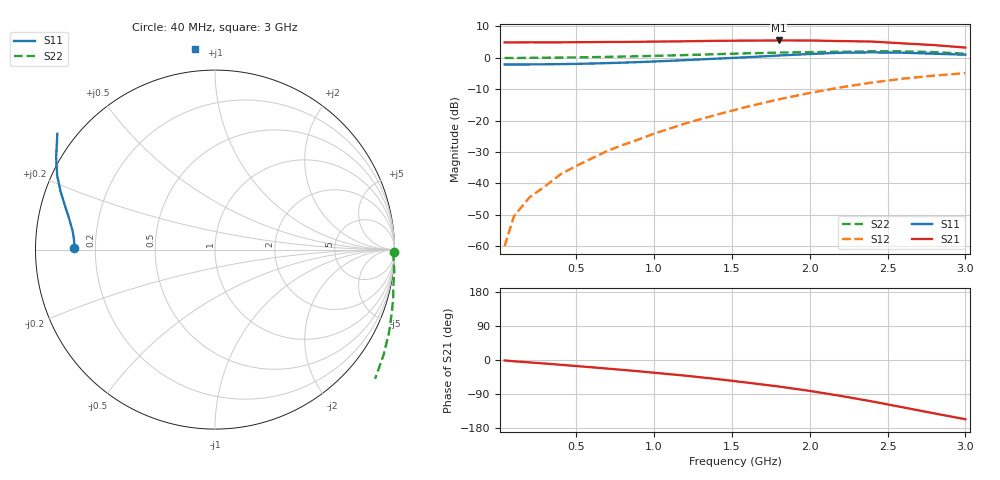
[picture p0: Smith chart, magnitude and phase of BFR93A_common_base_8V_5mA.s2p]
! Filename:  BFR93ACE.S2P  Version:  2.0
! Philips part #: BFR93A  Date: Jul 1990
! Bias condition: Vce=8V, Ic=5mA
! COMMON BASE
#  MHz  S  MA  R  50
! Freq  S11  S21  S12  S22
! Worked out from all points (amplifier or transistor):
!   21 points, 40 MHz to 3 GHz, reference 50 ohm
!   highest |S21| = 5.5 dB at 1.8 GHz (marker M1)
!   |S21| within 3 dB of that: start of sweep to end of sweep
!   unconditionally stable (mu >= 1): start of sweep to 47.2 MHz
!   at 300 MHz: K = -0.51, MSG = 22.9 dB, |S12| = -40.9 dB
!   at 1 GHz: K = -0.89, MSG = 14.7 dB, |S12| = -24.2 dB
!   at 3 GHz: K = -0.46, MSG = 4.1 dB, |S12| = -4.9 dB
40  0.785 179.3  1.767 -1.2  0.001 59.0  0.996 -0.8
100  0.784 178.1  1.766 -3.4  0.003 90.8  0.995 -2.6
200  0.786 176.7  1.769 -6.4  0.006 100.6  1 -4.7
300  0.79 175.2  1.768 -9.4  0.009 113.3  1.007 -7.2
400  0.795 173.7  1.768 -12.6  0.014 119.3  1.01 -9.7
500  0.802 172.2  1.776 -16.0  0.019 125.5  1.017 -12.3
600  0.813 170.5  1.781 -19.2  0.025 129.3  1.027 -14.8
700  0.825 168.8  1.791 -22.7  0.033 131.6  1.037 -17.5
800  0.839 167.0  1.795 -26.1  0.041 134.6  1.048 -20.3
900  0.856 165.2  1.804 -29.7  0.05 136.3  1.061 -23.0
1000  0.875 163.3  1.816 -33.6  0.062 137.0  1.076 -25.9
1200  0.92 159.3  1.837 -41.3  0.09 137.8  1.108 -32.1
1400  0.971 154.9  1.87 -50.0  0.124 136.1  1.146 -38.9
1600  1.024 149.8  1.883 -59.8  0.167 134.1  1.182 -46.3
1800  1.09 143.7  1.894 -69.9  0.218 129.7  1.212 -54.7
2000  1.153 137.1  1.892 -81.5  0.276 124.4  1.235 -64.3
2200  1.207 130.3  1.851 -94.8  0.339 118.1  1.251 -75.6
2400  1.224 122.5  1.819 -109.3  0.404 110.4  1.271 -87.5
2600  1.208 114.0  1.7 -125.0  0.467 102.4  1.269 -98.8
2800  1.164 104.6  1.597 -140.9  0.522 94.0  1.234 -109.9
3000  1.124 95.7  1.459 -156.3  0.57 86.9  1.165 -120.3
